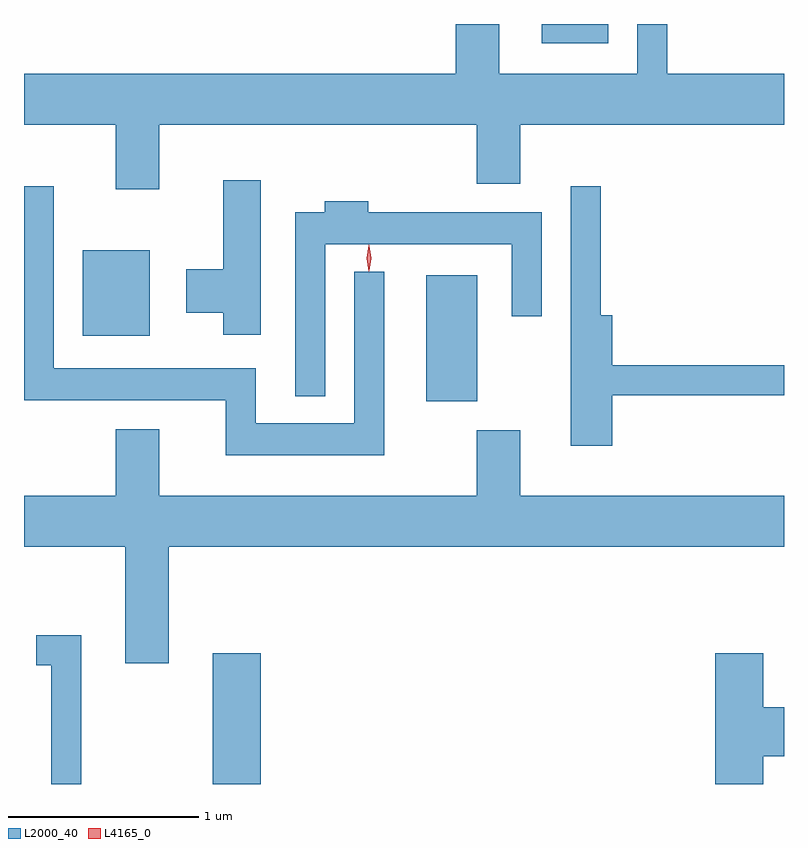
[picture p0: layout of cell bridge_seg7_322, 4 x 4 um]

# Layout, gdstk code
import gdstk
lib = gdstk.Library(unit=1e-6, precision=1e-09)
def R(c, l, rs):  # rectangles x0, y0, x1, y1
    for r in rs: c.add(gdstk.rectangle(r[:2], r[2:], *l))
def P(c, l, *ps):  # polygons
    for p in ps: c.add(gdstk.Polygon(p, *l))
L2000_40 = (2000, 40)
L4165_0 = (4165, 0)

bridge_seg7_322 = lib.new_cell('bridge_seg7_322')
R(bridge_seg7_322, L2000_40, [(1183.531,1761.906,1183.784,1762.594), (1184.656,1763.921,1184.924,1764.584), (1182.846,1764.266,1183.199,1764.714), (1185.263,1765.806,1185.614,1765.906)])
P(bridge_seg7_322, L2000_40, [(1183.249,1765.376),(1184.921,1765.376),(1184.921,1765.066),(1185.149,1765.066),(1185.149,1765.376),(1186.538,1765.376),(1186.538,1765.644),(1185.924,1765.644),(1185.924,1765.906),(1185.766,1765.906),(1185.766,1765.644),(1185.039,1765.644),(1185.039,1765.906),(1184.811,1765.906),(1184.811,1765.644),(1182.538,1765.644),(1182.538,1765.376),(1183.021,1765.376),(1183.021,1765.036),(1183.249,1765.036)],
  [(1183.784,1765.084),(1183.586,1765.084),(1183.586,1764.614),(1183.391,1764.614),(1183.391,1764.386),(1183.586,1764.386),(1183.586,1764.271),(1183.784,1764.271)],
  [(1185.634,1763.951),(1186.538,1763.951),(1186.538,1764.109),(1185.634,1764.109),(1185.634,1764.374),(1185.574,1764.374),(1185.574,1765.053),(1185.416,1765.053),(1185.416,1763.686),(1185.634,1763.686)],
  [(1184.434,1764.603),(1184.276,1764.603),(1184.276,1763.804),(1183.759,1763.804),(1183.759,1764.094),(1182.694,1764.094),(1182.694,1765.053),(1182.538,1765.053),(1182.538,1763.926),(1183.601,1763.926),(1183.601,1763.636),(1184.434,1763.636)],
  [(1184.124,1764.746),(1185.106,1764.746),(1185.106,1764.368),(1185.264,1764.368),(1185.264,1764.914),(1184.349,1764.914),(1184.349,1764.974),(1184.121,1764.974),(1184.121,1764.914),(1183.966,1764.914),(1183.966,1763.948),(1184.124,1763.948)],
  [(1183.021,1763.424),(1182.538,1763.424),(1182.538,1763.156),(1183.071,1763.156),(1183.071,1762.541),(1183.299,1762.541),(1183.299,1763.156),(1186.538,1763.156),(1186.538,1763.424),(1185.149,1763.424),(1185.149,1763.769),(1184.921,1763.769),(1184.921,1763.424),(1183.249,1763.424),(1183.249,1763.774),(1183.021,1763.774)],
  [(1182.839,1762.689),(1182.603,1762.689),(1182.603,1762.531),(1182.681,1762.531),(1182.681,1761.906),(1182.839,1761.906)],
  [(1186.429,1762.051),(1186.538,1762.051),(1186.538,1762.309),(1186.429,1762.309),(1186.429,1762.594),(1186.176,1762.594),(1186.176,1761.906),(1186.429,1761.906)])
P(bridge_seg7_322, L4165_0, [(1184.352,1764.603),(1184.352,1764.604),(1184.342,1764.673),(1184.352,1764.742),(1184.352,1764.743),(1184.353,1764.742),(1184.362,1764.673),(1184.353,1764.604)],
  [(1184.354,1764.607),(1184.345,1764.674),(1184.354,1764.74),(1184.355,1764.741),(1184.355,1764.74),(1184.365,1764.674),(1184.355,1764.607),(1184.355,1764.607)])

lib.write_gds('bridge_seg7_322.gds')
